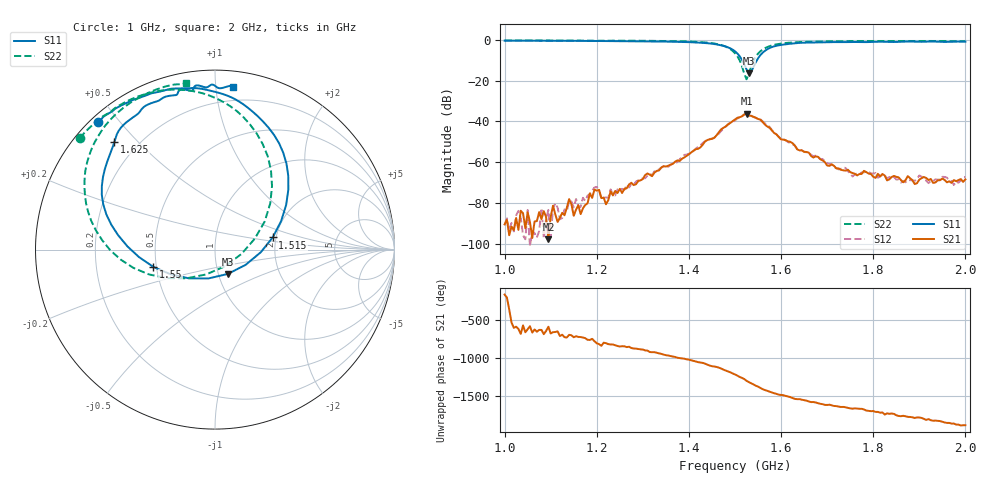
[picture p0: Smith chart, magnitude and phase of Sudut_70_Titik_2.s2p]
# Hz S RI R 50
! CMT, C1220, 16058040, 17.2.0/1
! Date: 14/08/2018 12:45:48
! Data: Format (Calibration Info)
! Freq  S11: Re/Im (F2)  S21: Re/Im (F2)  S12: Re/Im (F2)  S22: Re/Im (F2)
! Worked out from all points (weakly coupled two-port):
!   201 points, 1 GHz to 2 GHz, reference 50 ohm
!   highest |S21| = -36.21 dB at 1.525 GHz (marker M1); lowest = -97.8 dB at 1.095 GHz (marker M2)
!   lowest |S11| = -16.3 dB at 1.53 GHz (marker M3), VSWR 1.36, Z = 55.4 - j15.4 ohm
!   |S11| at or under -10 dB: 1.516 GHz to 1.547 GHz (31.58 MHz wide, 2.06 % of centre)
!   |S22| runs from -19.3 to -0.2 dB; largest |S21 - S12| = 0.00069
!   S11 on the Smith chart (normalised r, x): 1 GHz: 0.02, +0.44; 1.515 GHz: 1.92, +0.29; 1.55 GHz: 0.48, -0.11; 1.625 GHz: 0.12, +0.43; 2 GHz: 0.10, +1.11
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1e9  -0.6508 0.7126  -2.87e-05 -7.31e-06  -2.3e-05 -1.76e-05  -0.7537 0.6213
1.095e9  -0.5611 0.7811  -8.79e-06 9.32e-06  3.1e-05 5.98e-05  -0.6857 0.6919
1.17e9  -0.4801 0.8234  7.27e-05 -1.05e-05  0.000102 -8.62e-05  -0.6184 0.7466
1.195e9  -0.4432 0.839  0.000116 -0.000178  0.000131 -0.000201  -0.5897 0.7597
1.22e9  -0.4154 0.8473  1.16e-05 -9.22e-05  2.1e-05 -0.000135  -0.5738 0.7739
1.23e9  -0.3983 0.8536  -3.09e-05 -0.000189  -4.85e-05 -0.00021  -0.5631 0.7835
1.24e9  -0.3793 0.8612  -6.83e-05 -0.000185  -8.13e-05 -0.000129  -0.5515 0.7919
1.335e9  -0.2174 0.8971  -0.00051 0.000366  -0.000504 0.00043  -0.4039 0.8616
1.45e9  0.1813 0.7919  0.00342 -0.00151  0.00341 -0.00175  0.0187 0.8368
1.5e9  0.4087 0.3349  -0.00746 -0.00831  -0.00701 -0.0078  0.3177 0.3544
1.515e9  0.3216 0.0678  -0.0133 -0.000706  -0.0135 -0.00105  0.2223 0.0618
1.525e9  0.1702 -0.0853  -0.0127 0.00885  -0.0129 0.00884  0.0564 -0.0927
1.53e9  0.0711 -0.1355  -0.00842 0.011  -0.00854 0.0112  -0.05 -0.1384
1.55e9  -0.3435 -0.0963  0.00425 0.0107  0.00381 0.0109  -0.4533 -0.1025
1.58e9  -0.6226 0.2517  0.00594 -0.00104  0.00609 -0.00129  -0.7066 0.2095
1.625e9  -0.5603 0.6015  0.000479 -0.00288  0.000543 -0.00271  -0.7032 0.517
1.67e9  -0.4448 0.745  -0.0009 -0.000941  -0.000984 -0.00101  -0.628 0.6681
1.755e9  -0.2773 0.8515  -0.000413 0.00035  -0.000354 0.00027  -0.4927 0.803
1.835e9  -0.1353 0.885  0.000115 0.000362  0.000183 0.000393  -0.3818 0.8689
1.955e9  0.0267 0.8987  0.000277 -0.000239  0.000295 -0.000318  -0.2123 0.9208
1.975e9  0.0667 0.9083  0.000207 -0.000299  0.00013 -0.000244  -0.1875 0.9206
2e9  0.1018 0.9055  8.33e-05 -0.000369  4.89e-05 -0.000429  -0.1597 0.93
